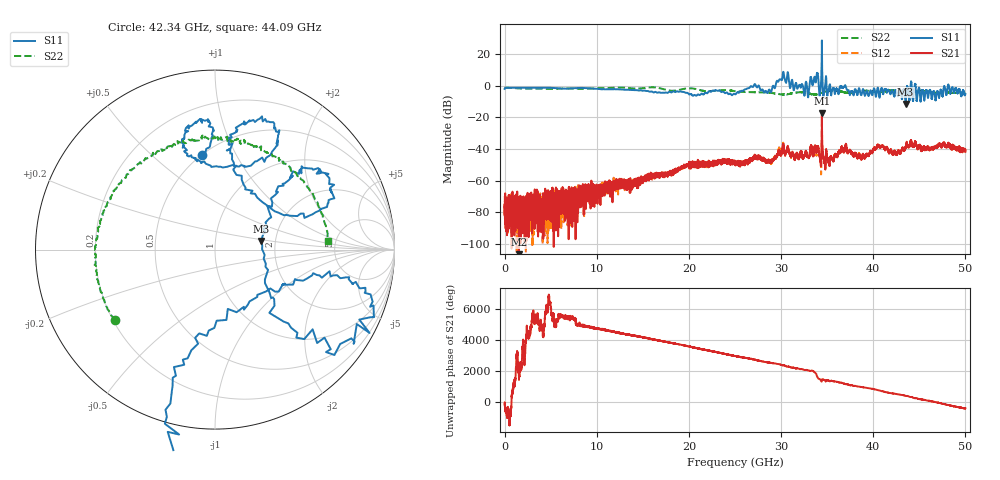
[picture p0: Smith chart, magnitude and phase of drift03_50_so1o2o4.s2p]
!Created with skrf (http://scikit-rf.org).
# Hz S RI R 50.0
!freq ReS11 ImS11 ReS21 ImS21 ReS12 ImS12 ReS22 ImS22
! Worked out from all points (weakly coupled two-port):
!   10000 points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, 5.3 MHz to 50 GHz, reference 50 ohm
!   highest |S21| = -17.43 dB at 34.43 GHz (marker M1); lowest = -111.9 dB at 1.54 GHz (marker M2)
!   lowest |S11| = -11.7 dB at 43.51 GHz (marker M3), VSWR 1.71, Z = 83.9 + j8.65 ohm
!   |S11| at or under -10 dB: 43.48895 GHz to 43.54499 GHz (56.03 MHz wide, 0.129 % of centre); 45.13638 GHz to 45.14221 GHz (5.837 MHz wide, 0.0129 % of centre)
!   |S22| runs from -5.8 to -1.1 dB; largest |S21 - S12| = 0.032
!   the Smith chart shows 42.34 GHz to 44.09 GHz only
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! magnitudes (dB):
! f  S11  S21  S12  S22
! 5.3 MHz  -2.1  -79.0  -76.0  -1.3
! 1.54 GHz  -1.3  -111.9  -74.8  -1.8
! 6.43 GHz  -1.9  -70.0  -72.4  -1.9
! 8.34 GHz  -1.5  -64.7  -69.7  -2.1
! 16.67 GHz  -4.4  -55.7  -56.4  -1.5
! 20.28 GHz  -5.5  -50.1  -50.5  -1.8
! 25.01 GHz  -5.5  -48.6  -48.6  -3.5
! 27.02 GHz  -0.3  -45.1  -45.7  -4.2
! 28.72 GHz  -2.5  -47.1  -48.1  -4.5
! 30.14 GHz  4.4  -40.2  -40.9  -5.7
! 32.74 GHz  2.0  -42.4  -42.3  -4.6
! 33.34 GHz  2.6  -39.9  -40.0  -5.6
! 33.82 GHz  4.0  -42.1  -42.3  -5.7
! 34.43 GHz  28.5  -17.4  -18.8  -4.6
! 35.31 GHz  0.7  -47.4  -46.5  -3.3
! 36.84 GHz  -0.7  -42.1  -41.6  -4.1
! 38.87 GHz  -2.4  -44.6  -43.6  -3.2
! 40.6 GHz  -4.4  -37.9  -38.3  -4.0
! 41.67 GHz  -2.9  -41.7  -41.9  -3.3
! 43.51 GHz  -11.7  -38.7  -38.9  -4.2
! 47.49 GHz  -6.1  -36.9  -37.4  -4.7
! 50 GHz  -5.3  -41.8  -40.6  -4.5
